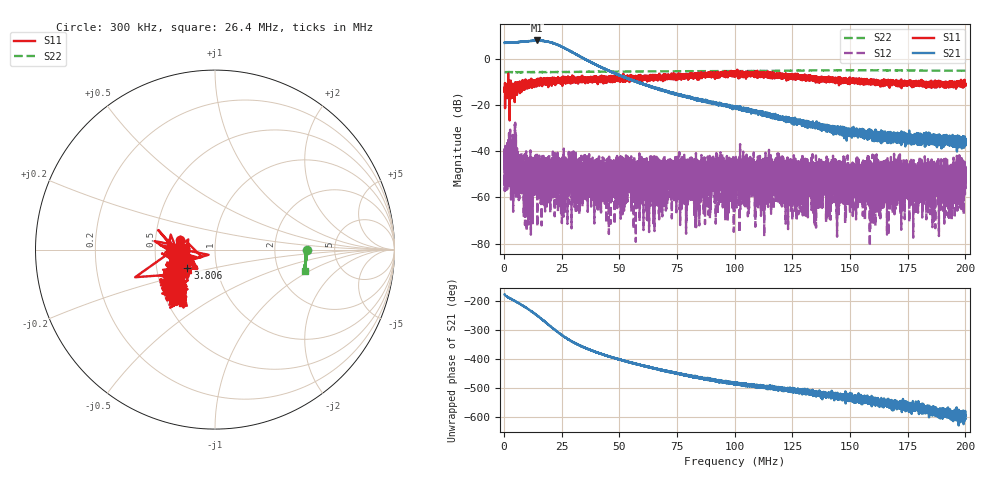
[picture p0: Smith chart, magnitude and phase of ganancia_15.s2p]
# Hz S DB R 50
! CMT, M5065, 19127446, 24.2.4/2
! Date: 11/8/2024 4:57:00 PM
! Data: Format (Calibration Info)
! Freq	S11:dB/Ang(F2)	S21:dB/Ang(F2)	S12:dB/Ang(F2)	S22:dB/Ang(F2)
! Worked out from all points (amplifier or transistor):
!   9000 points, 300 kHz to 200 MHz, reference 50 ohm
!   highest |S21| = 7.8 dB at 14.24 MHz (marker M1)
!   |S21| within 3 dB of that: start of sweep to 25.66 MHz
!   unconditionally stable (mu >= 1): start of sweep to end of sweep
!   at 33.59 MHz: K = 119.14, MAG = 2.5 dB, |S12| = -52.0 dB
!   at 100.2 MHz: K = 917.73, MAG = -18.6 dB, |S12| = -49.1 dB
!   at 200 MHz: K = 3767.55, MAG = -32.9 dB, |S12| = -46.4 dB
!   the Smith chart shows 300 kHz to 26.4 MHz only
!   S11 on the Smith chart (normalised r, x): 300 kHz: 0.67, +0.08; 3.806 MHz: 0.72, -0.15; 26.4 MHz: 0.59, -0.40
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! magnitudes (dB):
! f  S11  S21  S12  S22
! 300 kHz  -13.8  6.8  -55.1  -5.8
! 1.432 MHz  -11.1  6.8  -39.3  -5.9
! 3.806 MHz  -14.7  7.0  -36.7  -5.8
! 9.754 MHz  -10.6  7.5  -57.7  -5.9
! 14.24 MHz  -9.4  7.8  -43.0  -5.9
! 16.85 MHz  -10.7  7.6  -56.1  -5.9
! 26.4 MHz  -9.2  4.5  -48.6  -5.8
! 33.59 MHz  -9.0  0.6  -52.0  -5.8
! 44.53 MHz  -8.3  -4.9  -43.7  -5.7
! 54.2 MHz  -8.3  -8.9  -54.0  -5.6
! 56.33 MHz  -8.4  -9.6  -61.9  -5.6
! 60.53 MHz  -8.0  -11.0  -43.5  -5.6
! 62.57 MHz  -7.4  -11.7  -52.6  -5.6
! 66.87 MHz  -9.2  -13.3  -54.7  -5.5
! 74.73 MHz  -8.0  -15.5  -47.8  -5.5
! 79.08 MHz  -7.7  -16.6  -50.6  -5.5
! 100.2 MHz  -6.9  -21.1  -49.1  -5.4
! 133.4 MHz  -8.3  -29.0  -55.7  -5.1
! 166.7 MHz  -10.1  -32.8  -52.9  -5.1
! 193.3 MHz  -10.8  -33.8  -52.5  -5.3
! 198.4 MHz  -10.4  -36.6  -51.5  -5.3
! 200 MHz  -11.7  -34.8  -46.4  -5.3
